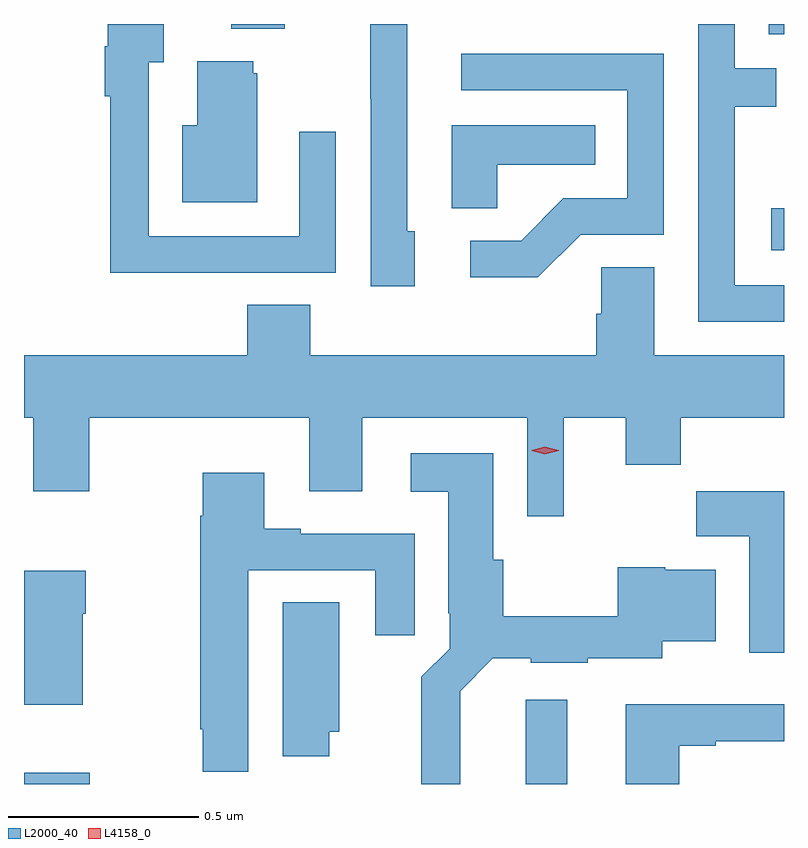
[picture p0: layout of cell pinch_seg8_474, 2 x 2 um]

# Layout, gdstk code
import gdstk
lib = gdstk.Library(unit=1e-6, precision=1e-09)
def R(c, l, rs):  # rectangles x0, y0, x1, y1
    for r in rs: c.add(gdstk.rectangle(r[:2], r[2:], *l))
def P(c, l, *ps):  # polygons
    for p in ps: c.add(gdstk.Polygon(p, *l))
L2000_40 = (2000, 40)
L4158_0 = (4158, 0)

pinch_seg8_474 = lib.new_cell('pinch_seg8_474')
R(pinch_seg8_474, L2000_40, [(121.169,1127.524,121.342,1127.553), (122.489,1127.524,122.599,1127.746), (123.135,1128.929,123.169,1129.039), (123.129,1129.497,123.169,1129.524), (121.715,1129.511,121.855,1129.524)])
P(pinch_seg8_474, L2000_40, [(122.197,1128.978),(122.178,1128.978),(122.178,1129.524),(122.08,1129.524),(122.08,1129.327),(122.082,1129.327),(122.082,1128.834),(122.197,1128.834)],
  [(121.673,1128.87),(121.989,1128.87),(121.989,1129.24),(121.893,1129.24),(121.893,1128.966),(121.497,1128.966),(121.497,1129.423),(121.537,1129.423),(121.537,1129.524),(121.389,1129.524),(121.389,1129.466),(121.381,1129.466),(121.381,1129.334),(121.396,1129.334),(121.396,1128.869),(121.673,1128.869)],
  [(123.169,1128.837),(123.039,1128.837),(123.039,1129.306),(123.149,1129.306),(123.149,1129.407),(123.039,1129.407),(123.039,1129.524),(122.943,1129.524),(122.943,1128.741),(123.169,1128.741)],
  [(122.634,1128.969),(122.853,1128.969),(122.853,1129.446),(122.319,1129.446),(122.319,1129.35),(122.757,1129.35),(122.757,1129.065),(122.588,1129.065),(122.477,1128.954),(122.343,1128.954),(122.343,1128.857),(122.521,1128.857)],
  [(121.783,1129.395),(121.772,1129.395),(121.772,1129.426),(121.625,1129.426),(121.625,1129.258),(121.586,1129.258),(121.586,1129.055),(121.783,1129.055)],
  [(122.415,1129.154),(122.672,1129.154),(122.672,1129.258),(122.294,1129.258),(122.294,1129.039),(122.415,1129.039)],
  [(122.59,1128.488),(122.753,1128.488),(122.753,1128.364),(122.897,1128.364),(122.897,1128.488),(123.169,1128.488),(123.169,1128.652),(122.827,1128.652),(122.827,1128.884),(122.688,1128.884),(122.688,1128.761),(122.675,1128.761),(122.675,1128.652),(121.922,1128.652),(121.922,1128.785),(121.757,1128.785),(121.757,1128.652),(121.169,1128.652),(121.169,1128.488),(121.193,1128.488),(121.193,1128.294),(121.341,1128.294),(121.341,1128.488),(121.919,1128.488),(121.919,1128.294),(122.059,1128.294),(122.059,1128.488),(122.493,1128.488),(122.493,1128.228),(122.59,1128.228)],
  [(122.317,1127.768),(122.403,1127.855),(122.502,1127.855),(122.502,1127.843),(122.652,1127.843),(122.652,1127.855),(122.848,1127.855),(122.848,1127.9),(122.989,1127.9),(122.989,1128.088),(122.856,1128.088),(122.856,1128.094),(122.731,1128.094),(122.731,1127.965),(122.43,1127.965),(122.43,1128.114),(122.404,1128.114),(122.404,1128.394),(122.187,1128.394),(122.187,1128.293),(122.285,1128.293),(122.285,1127.974),(122.289,1127.974),(122.289,1127.88),(122.215,1127.806),(122.215,1127.524),(122.317,1127.524)],
  [(121.759,1128.087),(122.093,1128.087),(122.093,1127.916),(122.197,1127.916),(122.197,1128.183),(121.897,1128.183),(121.897,1128.196),(121.801,1128.196),(121.801,1128.343),(121.64,1128.343),(121.64,1128.23),(121.633,1128.23),(121.633,1127.668),(121.64,1127.668),(121.64,1127.556),(121.759,1127.556)],
  [(123.169,1128.295),(122.938,1128.295),(122.938,1128.176),(123.077,1128.176),(123.077,1127.87),(123.169,1127.87)],
  [(121.324,1127.972),(121.332,1127.972),(121.332,1128.085),(121.169,1128.085),(121.169,1127.732),(121.324,1127.732)],
  [(121.972,1127.661),(121.999,1127.661),(121.999,1128.002),(121.85,1128.002),(121.85,1127.597),(121.972,1127.597)],
  [(122.893,1127.625),(122.989,1127.625),(122.989,1127.637),(123.169,1127.637),(123.169,1127.734),(122.753,1127.734),(122.753,1127.524),(122.893,1127.524)])
P(pinch_seg8_474, L4158_0, [(122.54,1128.392),(122.505,1128.401),(122.505,1128.402),(122.505,1128.402),(122.54,1128.412),(122.576,1128.402),(122.576,1128.402),(122.576,1128.401)])

lib.write_gds('pinch_seg8_474.gds')
